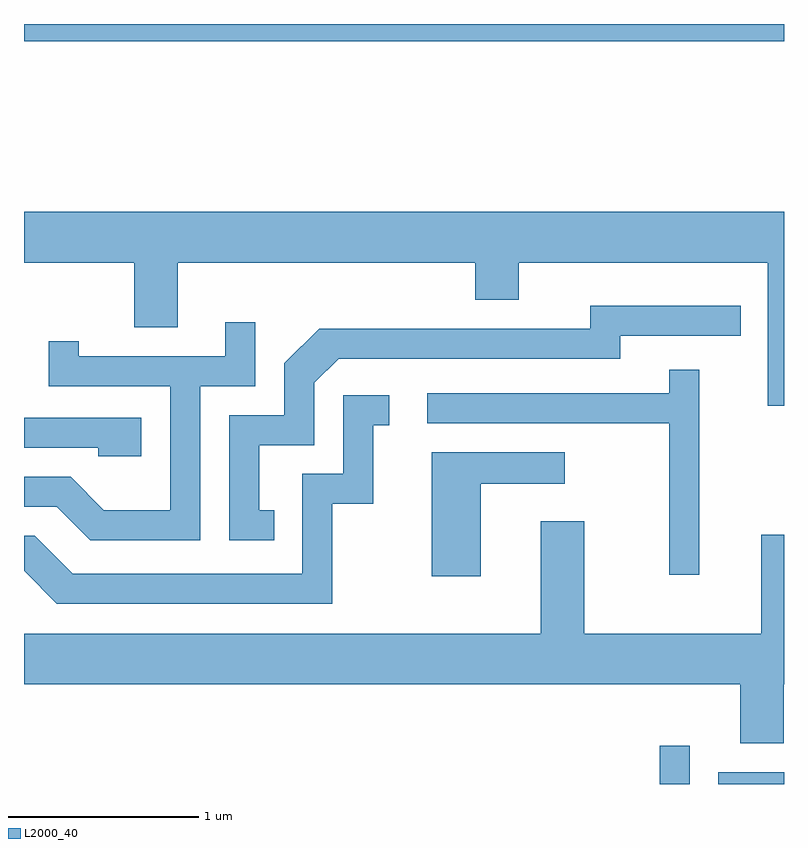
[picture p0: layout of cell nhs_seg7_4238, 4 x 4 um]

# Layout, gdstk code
import gdstk
lib = gdstk.Library(unit=1e-6, precision=1e-09)
def R(c, l, rs):  # rectangles x0, y0, x1, y1
    for r in rs: c.add(gdstk.rectangle(r[:2], r[2:], *l))
def P(c, l, *ps):  # polygons
    for p in ps: c.add(gdstk.Polygon(p, *l))
L2000_40 = (2000, 40)

nhs_seg7_4238 = lib.new_cell('nhs_seg7_4238')
R(nhs_seg7_4238, L2000_40, [(318.956,1698.252,319.114,1698.453), (319.266,1698.252,319.611,1698.314), (315.611,1702.161,319.611,1702.252)])
P(nhs_seg7_4238, L2000_40, [(319.611,1701.264),(315.611,1701.264),(315.611,1700.996),(316.191,1700.996),(316.191,1700.656),(316.419,1700.656),(316.419,1700.996),(317.986,1700.996),(317.986,1700.801),(318.214,1700.801),(318.214,1700.996),(319.526,1700.996),(319.526,1700.243),(319.611,1700.243)],
  [(316.928,1699.694),(316.849,1699.694),(316.849,1700.036),(317.139,1700.036),(317.139,1700.364),(317.267,1700.491),(318.749,1700.491),(318.749,1700.611),(319.383,1700.611),(319.383,1700.769),(318.591,1700.769),(318.591,1700.649),(317.164,1700.649),(316.981,1700.467),(316.981,1700.194),(316.691,1700.194),(316.691,1699.536),(316.928,1699.536)],
  [(316.539,1700.346),(316.829,1700.346),(316.829,1700.683),(316.671,1700.683),(316.671,1700.504),(315.899,1700.504),(315.899,1700.583),(315.741,1700.583),(315.741,1700.346),(316.381,1700.346),(316.381,1699.694),(316.032,1699.694),(315.857,1699.869),(315.611,1699.869),(315.611,1699.711),(315.784,1699.711),(315.959,1699.536),(316.539,1699.536)],
  [(319.164,1700.433),(319.006,1700.433),(319.006,1700.309),(317.733,1700.309),(317.733,1700.151),(319.006,1700.151),(319.006,1699.353),(319.164,1699.353)],
  [(317.234,1699.726),(317.449,1699.726),(317.449,1700.141),(317.533,1700.141),(317.533,1700.299),(317.291,1700.299),(317.291,1699.884),(317.076,1699.884),(317.076,1699.359),(315.867,1699.359),(315.667,1699.559),(315.611,1699.559),(315.611,1699.374),(315.784,1699.201),(317.234,1699.201)],
  [(316.229,1700.179),(315.611,1700.179),(315.611,1700.021),(316.001,1700.021),(316.001,1699.976),(316.229,1699.976)],
  [(318.014,1699.831),(318.458,1699.831),(318.458,1699.999),(317.756,1699.999),(317.756,1699.346),(318.014,1699.346)],
  [(319.609,1698.776),(319.611,1698.776),(319.611,1699.564),(319.491,1699.564),(319.491,1699.044),(318.559,1699.044),(318.559,1699.634),(318.331,1699.634),(318.331,1699.044),(315.611,1699.044),(315.611,1698.776),(319.381,1698.776),(319.381,1698.466),(319.609,1698.466)])

lib.write_gds('nhs_seg7_4238.gds')
